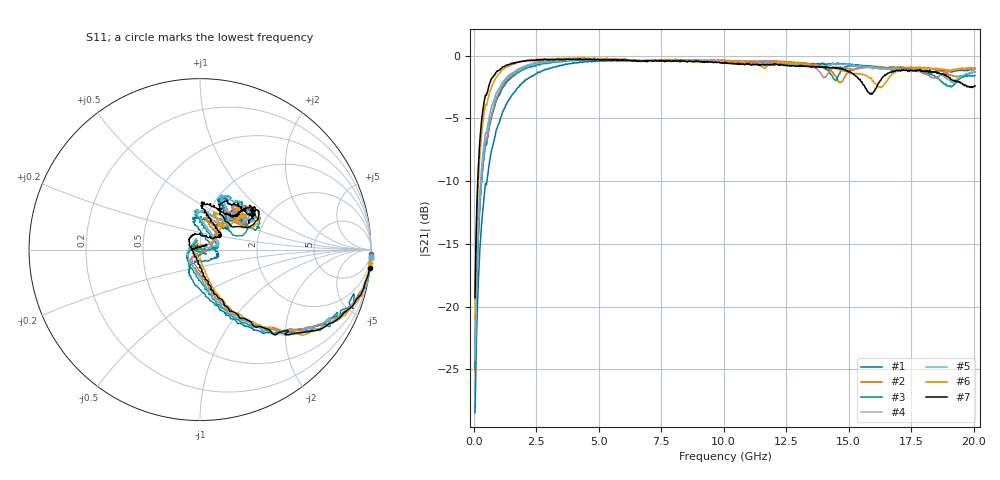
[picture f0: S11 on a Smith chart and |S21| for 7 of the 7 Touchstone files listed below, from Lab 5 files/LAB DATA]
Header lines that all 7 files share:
#	mhz	s	ma	r	50
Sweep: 50 MHz to 20.05 GHz
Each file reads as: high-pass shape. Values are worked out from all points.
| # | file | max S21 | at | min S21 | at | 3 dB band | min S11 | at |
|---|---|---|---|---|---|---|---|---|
| 1 | 1N1_pF.s2p | -0.33 dB | 5.95 GHz | -28.5 dB | 50 MHz | 1.47 GHz-20.05 GHz | -24.3 dB | 6.41 GHz |
| 2 | 1N5_pF.s2p | -0.14 dB | 4.43 GHz | -25.2 dB | 50 MHz | 990 MHz-20.05 GHz | -32.3 dB | 6.23 GHz |
| 3 | 1N6_pF.s2p | -0.28 dB | 4.79 GHz | -24.9 dB | 50 MHz | 990 MHz-20.05 GHz | -46.9 dB | 6.29 GHz |
| 4 | 1N8_pF.s2p | -0.15 dB | 4.43 GHz | -24.3 dB | 50 MHz | 950 MHz-20.05 GHz | -34.6 dB | 5.97 GHz |
| 5 | 2N0_pF.s2p | -0.26 dB | 4.79 GHz | -24.1 dB | 50 MHz | 870 MHz-20.05 GHz | -34.1 dB | 6.15 GHz |
| 6 | 2N7_pF.s2p | -0.12 dB | 4.43 GHz | -21.0 dB | 50 MHz | 610 MHz-20.05 GHz | -32.3 dB | 5.75 GHz |
| 7 | 3N3_pF.s2p | -0.23 dB | 4.25 GHz | -19.3 dB | 50 MHz | 470 MHz-20.05 GHz | -27.7 dB | 3.83 GHz |
